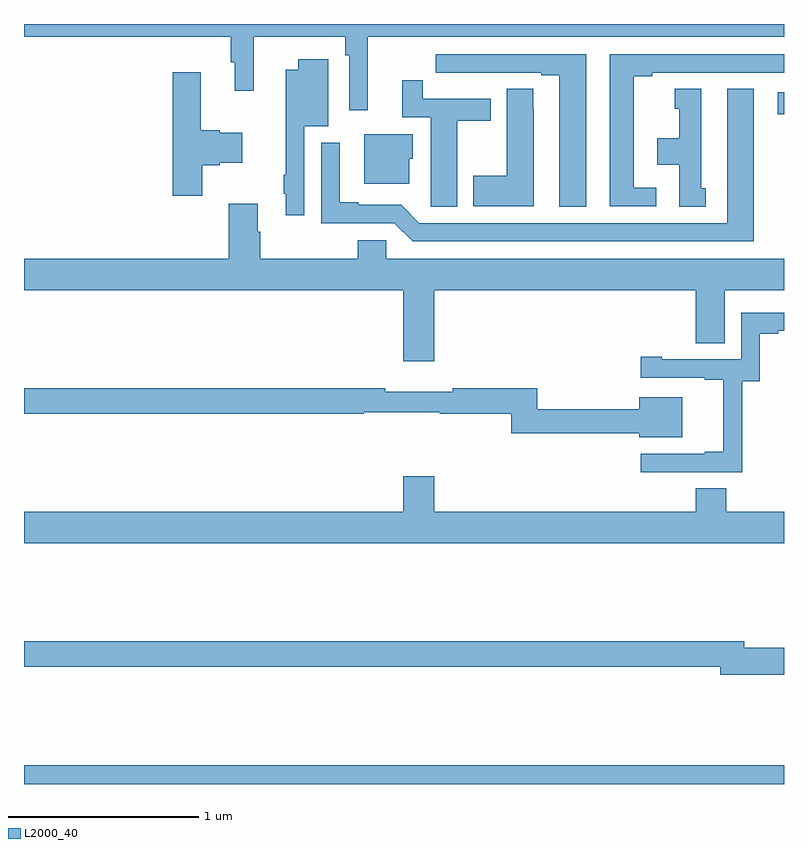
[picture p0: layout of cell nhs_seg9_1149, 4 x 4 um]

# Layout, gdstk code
import gdstk
lib = gdstk.Library(unit=1e-6, precision=1e-09)
def R(c, l, rs):  # rectangles x0, y0, x1, y1
    for r in rs: c.add(gdstk.rectangle(r[:2], r[2:], *l))
def P(c, l, *ps):  # polygons
    for p in ps: c.add(gdstk.Polygon(p, *l))
L2000_40 = (2000, 40)

nhs_seg9_1149 = lib.new_cell('nhs_seg9_1149')
R(nhs_seg9_1149, L2000_40, [(175,1180.5,179,1180.6), (178.968,1184.026,179,1184.142)])
P(nhs_seg9_1149, L2000_40, [(176.81,1184.432),(179,1184.432),(179,1184.5),(175,1184.5),(175,1184.432),(176.089,1184.432),(176.089,1184.298),(176.108,1184.298),(176.108,1184.148),(176.208,1184.148),(176.208,1184.432),(176.692,1184.432),(176.692,1184.336),(176.712,1184.336),(176.712,1184.046),(176.81,1184.046)],
  [(177.958,1184.34),(177.168,1184.34),(177.168,1184.244),(177.28,1184.244),(177.28,1184.243),(177.446,1184.243),(177.446,1184.244),(177.722,1184.244),(177.722,1184.229),(177.818,1184.229),(177.818,1183.537),(177.958,1183.537)],
  [(178.327,1183.638),(178.21,1183.638),(178.21,1184.224),(178.306,1184.224),(178.306,1184.244),(179,1184.244),(179,1184.34),(178.082,1184.34),(178.082,1183.542),(178.327,1183.542)],
  [(176.475,1183.961),(176.602,1183.961),(176.602,1184.314),(176.444,1184.314),(176.444,1184.26),(176.378,1184.26),(176.378,1183.965),(176.377,1183.965),(176.377,1183.706),(176.367,1183.706),(176.367,1183.606),(176.378,1183.606),(176.378,1183.494),(176.475,1183.494)],
  [(175.938,1183.757),(176.031,1183.757),(176.031,1183.769),(176.149,1183.769),(176.149,1183.927),(176.031,1183.927),(176.031,1183.94),(175.93,1183.94),(175.93,1184.245),(175.784,1184.245),(175.784,1183.596),(175.938,1183.596)],
  [(177.28,1183.99),(177.457,1183.99),(177.457,1184.106),(177.098,1184.106),(177.098,1184.203),(176.99,1184.203),(176.99,1184.01),(177.14,1184.01),(177.14,1183.648),(177.141,1183.648),(177.141,1183.537),(177.28,1183.537)],
  [(177.682,1184.051),(177.681,1184.051),(177.681,1184.159),(177.542,1184.159),(177.542,1183.701),(177.365,1183.701),(177.365,1183.541),(177.682,1183.541)],
  [(178.84,1184.158),(178.7,1184.158),(178.7,1183.452),(177.081,1183.452),(176.985,1183.548),(176.758,1183.548),(176.758,1183.561),(176.662,1183.561),(176.662,1183.876),(176.565,1183.876),(176.565,1183.452),(176.949,1183.452),(177.045,1183.356),(178.84,1183.356)],
  [(178.588,1183.635),(178.564,1183.635),(178.564,1184.158),(178.424,1184.158),(178.424,1184.055),(178.448,1184.055),(178.448,1183.9),(178.334,1183.9),(178.334,1183.76),(178.448,1183.76),(178.448,1183.537),(178.588,1183.537)],
  [(177.028,1183.791),(177.046,1183.791),(177.046,1183.921),(176.792,1183.921),(176.792,1183.658),(177.028,1183.658)],
  [(176.907,1183.362),(176.756,1183.362),(176.756,1183.264),(176.243,1183.264),(176.243,1183.406),(176.23,1183.406),(176.23,1183.555),(176.078,1183.555),(176.078,1183.264),(175,1183.264),(175,1183.1),(176.996,1183.1),(176.996,1182.726),(177.16,1182.726),(177.16,1183.1),(178.535,1183.1),(178.535,1182.82),(178.687,1182.82),(178.687,1183.1),(179,1183.1),(179,1183.264),(176.907,1183.264)],
  [(178.779,1182.619),(178.873,1182.619),(178.873,1182.87),(178.969,1182.87),(178.969,1182.885),(179,1182.885),(179,1182.981),(178.776,1182.981),(178.776,1182.735),(178.357,1182.735),(178.357,1182.748),(178.245,1182.748),(178.245,1182.639),(178.583,1182.639),(178.583,1182.627),(178.679,1182.627),(178.679,1182.25),(178.583,1182.25),(178.583,1182.237),(178.245,1182.237),(178.245,1182.141),(178.779,1182.141)],
  [(178.465,1182.535),(178.238,1182.535),(178.238,1182.473),(177.701,1182.473),(177.701,1182.584),(177.256,1182.584),(177.256,1182.565),(176.9,1182.565),(176.9,1182.584),(175,1182.584),(175,1182.448),(176.788,1182.448),(176.788,1182.456),(177.188,1182.456),(177.188,1182.448),(177.565,1182.448),(177.565,1182.345),(178.238,1182.345),(178.238,1182.326),(178.465,1182.326)],
  [(179,1181.932),(178.695,1181.932),(178.695,1182.056),(178.535,1182.056),(178.535,1181.932),(177.16,1181.932),(177.16,1182.121),(176.996,1182.121),(176.996,1181.932),(175,1181.932),(175,1181.768),(179,1181.768)],
  [(179,1181.216),(178.792,1181.216),(178.792,1181.252),(175,1181.252),(175,1181.116),(178.664,1181.116),(178.664,1181.074),(179,1181.074)])

lib.write_gds('nhs_seg9_1149.gds')
